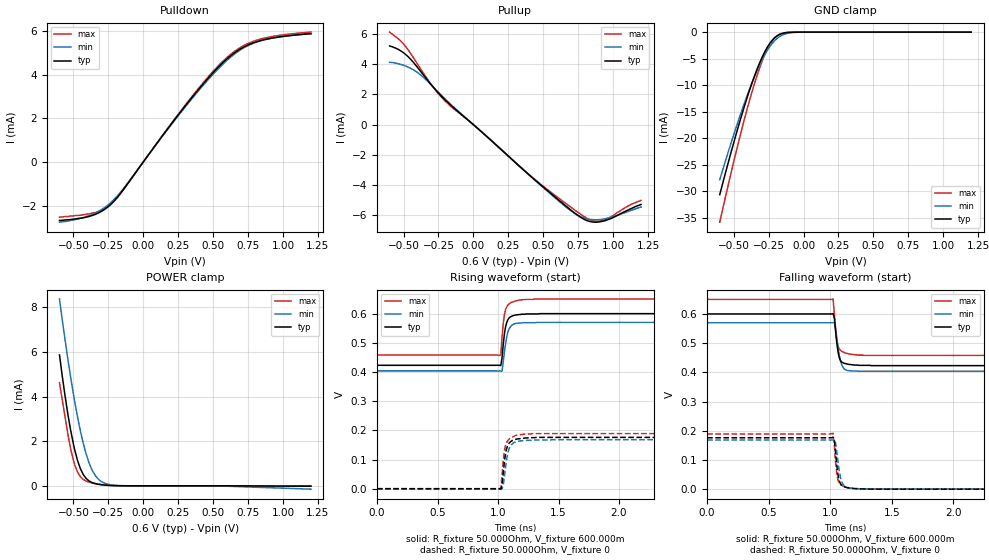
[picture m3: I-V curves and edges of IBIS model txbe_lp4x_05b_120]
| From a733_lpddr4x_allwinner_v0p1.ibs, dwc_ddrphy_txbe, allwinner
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[Model] txbe_lp4x_05b_120
Model_type   I/O
Polarity   Non-Inverting
Enable   Active-High
C_comp   1.525pF   1.517pF   1.533pF
C_comp_pullup   282.426fF   275.466fF   284.310fF
C_comp_pulldown 1.185pF   1.182pF   1.189pF
Vinh = 360.000mV
Vinl = 307.000mV
Vmeas = 300.000mV
Vref = 300.000mV
Rref = 50Ohms
Cref = 0pF
[Model Spec]
Vinh   360.000mV   345.000mV   450.000mV
Vinl   307.000mV   293.000mV   330.000mV
Vmeas   300.000mV   285.000mV   325.000mV
Vref   300.000mV   285.000mV   325.000mV
D_overshoot_ampl_h 0.1 NA   NA
D_overshoot_ampl_l 0.1 NA   NA
D_overshoot_area_l 300.000m NA   NA
D_overshoot_area_h 300.000m NA   NA
[Receiver Thresholds]
Vth = 163.000mV
Vth_min = 143.000mV
Vth_max = 150.000mV
Vinh_ac = 60.000mV
Vinh_dc = 60.000mV
Vinl_ac = -60.000mV
Vinl_dc = -60.000mV
Tslew_ac = 5.000ns
Threshold_sensitivity = 0.5
Reference_supply Pullup_ref
[Temperature Range]   25.000   125.000   -40.000
[Voltage Range]   600.000mV   570.000mV   650.000mV
[GND Clamp Reference]   0.00V   0.00V   0.00V
[C Comp Corner]
| variable   typ   min   max
C_comp 1.525pF   1.533pF   1.517pF
C_comp_pullup 282.426fF   284.310fF   275.466fF
C_comp_pulldown 1.182pF   1.189pF   1.185pF
[Pulldown Reference]   0.00V   0.00V   0.00V
[POWER Clamp Reference]   600.000mV   570.000mV   650.000mV
[Pullup Reference]   600.000mV   570.000mV   650.000mV
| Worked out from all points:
|   slope of the pulldown table from 0 to 0.09 V, typ, clamps not added: 114 ohm
|   slope of the pullup table from 0 to 0.09 V, typ, clamps not added: 123 ohm
|   GND clamp passes 1 mA (typ) near -0.20 V on its own axis
|   POWER clamp passes 1 mA (typ) near -0.46 V on its own axis
|   rising waveform, R_fixture 50.000Ohm, V_fixture 600.000m: 20-80 % time 33.5ps typ, 37.7ps min, 31.9ps max; typ from 0.423 V to 0.6 V
|   rising waveform, R_fixture 50.000Ohm, V_fixture 0: 20-80 % time 34.6ps typ, 39ps min, 32.5ps max; typ from 0 V to 0.176 V
|   falling waveform, R_fixture 50.000Ohm, V_fixture 600.000m: 20-80 % time 31ps typ, 37.4ps min, 28.9ps max; typ from 0.6 V to 0.423 V
|   falling waveform, R_fixture 50.000Ohm, V_fixture 0: 20-80 % time 30.2ps typ, 36.5ps min, 26.8ps max; typ from 0.176 V to 0 V
[GND Clamp]
-600mV    -30.61mA   -27.8mA    -35.78mA
-520mV    -22.73mA   -20.97mA   -26.64mA
-450mV    -16.28mA   -15.37mA   -19.1mA
-390mV    -11.21mA   -10.96mA   -13.16mA
-350mV    -8.181mA   -8.298mA   -9.582mA
-300mV    -4.923mA   -5.382mA   -5.708mA
-260mV    -2.864mA   -3.463mA   -3.244mA
-230mV    -1.706mA   -2.312mA   -1.856mA
-190mV    -705.6uA   -1.194mA   -684.3uA
-130mV    -123.8uA   -327.5uA   -84.42uA
-40mV     -3.823uA   -18.15uA   -1.471uA
1.2V      1.202uA    9.468uA    355.6nA
[Power Clamp]
-600mV    5.867mA    8.37mA     4.619mA
-560mV    4.027mA    6.539mA    3.087mA
-520mV    2.489mA    4.867mA    1.655mA
-500mV    1.861mA    4.102mA    1.131mA
-470mV    1.12mA     3.062mA    608.9uA
-430mV    508.3uA    1.908mA    287uA
-390mV    225.6uA    1.059mA    165.6uA
-340mV    92.46uA    430uA      93.34uA
-300mV    48.11uA    190.2uA    55.9uA
-170mV    2.644uA    10.51uA    3.018uA
530mV     -286.1nA   -4.802uA   -57.47nA
1.2V      -18.54uA   -150.4uA   -4.334uA
[Pulldown]
-600mV    -2.68mA    -2.76mA    -2.53mA
-370mV    -2.462mA   -2.419mA   -2.35mA
-300mV    -2.266mA   -2.188mA   -2.214mA
-230mV    -1.927mA   -1.846mA   -1.927mA
-150mV    -1.327mA   -1.284mA   -1.343mA
140mV     1.224mA    1.202mA    1.238mA
370mV     3.122mA    3.067mA    3.168mA
530mV     4.295mA    4.223mA    4.36mA
650mV     4.986mA    4.928mA    5.051mA
750mV     5.361mA    5.33mA     5.428mA
860mV     5.593mA    5.583mA    5.664mA
1.2V      5.872mA    5.881mA    5.949mA
[Pullup]
-600mV    5.212mA    4.131mA    6.13mA
-500mV    4.759mA    3.934mA    5.343mA
-410mV    3.907mA    3.516mA    4.152mA
-280mV    2.405mA    2.423mA    2.392mA
-190mV    1.529mA    1.589mA    1.453mA
400mV     -3.332mA   -3.34mA    -3.317mA
570mV     -4.674mA   -4.729mA   -4.582mA
700mV     -5.669mA   -5.715mA   -5.48mA
770mV     -6.146mA   -6.098mA   -5.943mA
840mV     -6.423mA   -6.275mA   -6.308mA
920mV     -6.404mA   -6.263mA   -6.35mA
1.2V      -5.28mA    -5.45mA    -5.01mA
[Ramp]
R_load=50.000Ohm
dV/dt_r   105.887mV/35.500ps  100.083mV/39.500ps  114.297mV/33.000ps
dV/dt_f   105.885mV/31.000ps  100.083mV/37.500ps  114.296mV/28.000ps
[Rising waveform]
R_fixture=50.000Ohm
V_fixture=600.000m
V_fixture_min=570.000m
V_fixture_max=650.000m
0s        423mV      404mV      458mV
1.013ns   423mV      404mV      457mV
1.023ns   422mV      403mV      459mV
1.033ns   448mV      403mV      519mV
1.053ns   531mV      470mV      597mV
1.073ns   571mV      523mV      624mV
1.093ns   586mV      549mV      634mV
1.113ns   591mV      560mV      639mV
1.233ns   599mV      569mV      649mV
10ns      600mV      570mV      650mV
[Rising waveform]
R_fixture=50.000Ohm
V_fixture=0
0s        44.75uV    389.6uV    10.59uV
1.023ns   -1.456mV   -460.8uV   838.1uV
1.033ns   11mV       -365.9uV   43.54mV
1.043ns   50.76mV    12.06mV    94.77mV
1.053ns   93.79mV    41.29mV    131mV
1.073ns   140mV      106mV      160mV
1.093ns   157mV      139mV      171mV
1.133ns   168mV      159mV      180mV
1.283ns   175mV      167mV      189mV
10ns      176mV      168mV      189mV
[Falling waveform]
R_fixture=50.000Ohm
V_fixture=600.000m
V_fixture_min=570.000m
V_fixture_max=650.000m
0s        600mV      570mV      650mV
1.023ns   601mV      570mV      651mV
1.033ns   585mV      571mV      598mV
1.043ns   540mV      552mV      551mV
1.053ns   501mV      514mV      509mV
1.073ns   450mV      459mV      480mV
1.093ns   435mV      426mV      472mV
1.123ns   430mV      409mV      466mV
1.273ns   424mV      404mV      458mV
10ns      423mV      404mV      458mV
[Falling waveform]
R_fixture=50.000Ohm
V_fixture=0
0s        176mV      168mV      189mV
1.023ns   178mV      168mV      191mV
1.033ns   167mV      170mV      148mV
1.043ns   124mV      157mV      92.8mV
1.053ns   80.48mV    127mV      50.22mV
1.073ns   27.98mV    61mV       20.55mV
1.093ns   12.99mV    25.08mV    13.13mV
1.113ns   8.049mV    10.73mV    9.23mV
1.253ns   793uV      1.192mV    608.4uV
10ns      49.35uV    389.9uV    13.69uV
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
